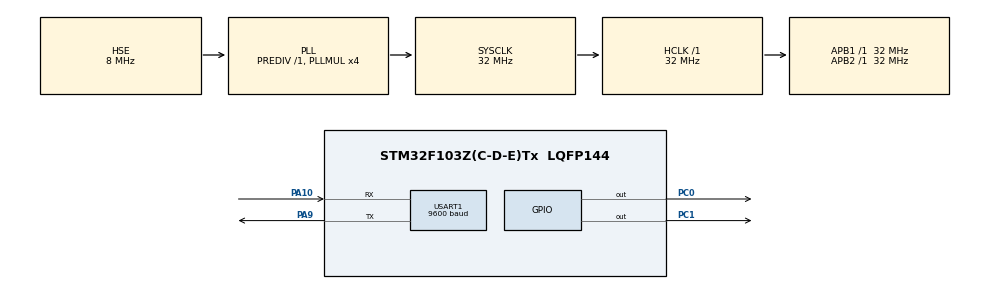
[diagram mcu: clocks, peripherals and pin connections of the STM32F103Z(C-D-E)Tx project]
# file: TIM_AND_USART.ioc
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Mcu.Family=STM32F1
Mcu.Name=STM32F103Z(C-D-E)Tx
Mcu.Package=LQFP144
NVIC.PriorityGroup=NVIC_PRIORITYGROUP_4
NVIC.TIM2_IRQn=true\:0\:0\:false\:false\:true\:true\:true
NVIC.USART1_IRQn=true\:0\:0\:false\:false\:true\:true\:true
OSC_IN.Mode=HSE-External-Oscillator
OSC_IN.Signal=RCC_OSC_IN
OSC_OUT.Mode=HSE-External-Oscillator
OSC_OUT.Signal=RCC_OSC_OUT
PA10.Mode=Asynchronous
PA10.Signal=USART1_RX
PA13.Mode=Serial_Wire
PA13.Signal=SYS_JTMS-SWDIO
PA14.Mode=Serial_Wire
PA14.Signal=SYS_JTCK-SWCLK
PA9.Mode=Asynchronous
PA9.Signal=USART1_TX
PC0.Signal=GPIO_Output
PC1.Signal=GPIO_Output
PC14-OSC32_IN.Mode=LSE-External-Oscillator
PC14-OSC32_IN.Signal=RCC_OSC32_IN
PC15-OSC32_OUT.Mode=LSE-External-Oscillator
PC15-OSC32_OUT.Signal=RCC_OSC32_OUT
ProjectManager.HeapSize=0x200
ProjectManager.StackSize=0x400
ProjectManager.TargetToolchain=MDK-ARM V5.27
RCC.AHBFreq_Value=32000000
RCC.APB1Freq_Value=32000000
RCC.APB1TimFreq_Value=32000000
RCC.APB2Freq_Value=32000000
RCC.APB2TimFreq_Value=32000000
RCC.HCLKFreq_Value=32000000
RCC.PLLMUL=RCC_PLL_MUL4
RCC.PLLSourceVirtual=RCC_PLLSOURCE_HSE
RCC.SYSCLKFreq_VALUE=32000000
RCC.SYSCLKSource=RCC_SYSCLKSOURCE_PLLCLK
RCC.USBFreq_Value=32000000
TIM2.Period=499
TIM2.Prescaler=31999
USART1.BaudRate=9600
USART1.VirtualMode=VM_ASYNC
VP_TIM2_VS_ClockSourceINT.Mode=Internal
board=custom

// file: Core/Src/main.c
/* USER CODE BEGIN Header */
/**
  ******************************************************************************
  * @file           : main.c
  * @brief          : Main program body
  ******************************************************************************
  * @attention
  *
  * <h2><center>&copy; Copyright (c) 2020 STMicroelectronics.
  * All rights reserved.</center></h2>
  *
  * This software component is licensed by ST under BSD 3-Clause license,
  * the "License"; You may not use this file except in compliance with the
  * License. You may obtain a copy of the License at:
  *                        opensource.org/licenses/BSD-3-Clause
  *
  ******************************************************************************
  */
/* USER CODE END Header */
#include "main.h"
#include "tim.h"
#include "usart.h"
#include "gpio.h"

/* USER CODE BEGIN Includes */
#include "stdio.h"
/* USER CODE END Includes */

void SystemClock_Config(void);

/* USER CODE BEGIN 0 */

#define led1k HAL_GPIO_WritePin(GPIOC,GPIO_PIN_0,GPIO_PIN_RESET)
#define led1f HAL_GPIO_TogglePin(GPIOC,GPIO_PIN_0)
#define led2k HAL_GPIO_WritePin(GPIOC,GPIO_PIN_1,GPIO_PIN_RESET)
#define led2f HAL_GPIO_TogglePin(GPIOC,GPIO_PIN_1)

uint8_t str1[] ="*******************************��ң����ã�*********************\r\n";
uint8_t hh=0,mm=0,ss=0,ss05=0;
uint8_t str_buff[64];
uint8_t rx_dat[16];

void HAL_TIM_PeriodElapsedCallback(TIM_HandleTypeDef *htim)
{
	led1f;
	ss05++;
	if(ss05==2)
	{
		ss05=0;
		ss++;
		if(ss==60)
		{
			ss=0;
			mm++;
			if(mm==60)
			{
				mm=0;
				hh++;
			}
		}
	}
}

void HAL_UART_RxCpltCallback(UART_HandleTypeDef *huart)
{
	if(huart->Instance==USART1)
	{
		if(rx_dat[0]==0XBF&&rx_dat[2]==0XFB)
		{
			switch(rx_dat[1])
			{
				case 0xa1:
					led2k;
					sprintf((char *)str_buff,"%d:%d:%d       ��֪���ˣ�\r\n",hh,mm,ss);
				break;
				case 0xa2:
					led2f;
					sprintf((char *)str_buff,"%d:%d:%d       �����ң�\r\n",hh,mm,ss);
				break;
				default:
					sprintf((char *)str_buff,"%d:%d:%d       �ҳ����ģ�\r\n",hh,mm,ss);
				break;
				}
			HAL_UART_Transmit(&huart1,str_buff,sizeof(str_buff),10000);
			HAL_UART_Receive_IT(&huart1,rx_dat,3);
		}
	}

}
/* USER CODE END 0 */

int main(void)
{
  /* USER CODE BEGIN 1 */
HAL_GPIO_WritePin(GPIOC,GPIO_PIN_0,GPIO_PIN_RESET);
	HAL_GPIO_TogglePin(GPIOC,GPIO_PIN_0);
  /* USER CODE END 1 */

  /* MCU Configuration--------------------------------------------------------*/

  /* Reset of all peripherals, Initializes the Flash interface and the Systick. */
  HAL_Init();

  /* Configure the system clock */
  SystemClock_Config();

  /* Initialize all configured peripherals */
  MX_GPIO_Init();
  MX_TIM2_Init();
  MX_USART1_UART_Init();
  /* USER CODE BEGIN 2 */

	led1f;
	led2f;
	led1k;
	HAL_Delay(500);
	led1f;
	HAL_Delay(500);
	led2k;
	HAL_Delay(500);
	led2f;

	HAL_UART_Transmit(&huart1,str1,sizeof(str1),10000);
	HAL_UART_Receive_IT(&huart1,rx_dat,3);
	HAL_TIM_Base_Start_IT(&htim2);
  /* USER CODE END 2 */

  /* Infinite loop */
  while (1)
  {

  }
}

void SystemClock_Config(void)
{
  RCC_OscInitTypeDef RCC_OscInitStruct = {0};
  RCC_ClkInitTypeDef RCC_ClkInitStruct = {0};

  /** Initializes the RCC Oscillators according to the specified parameters
  * in the RCC_OscInitTypeDef structure.
  */
  RCC_OscInitStruct.OscillatorType = RCC_OSCILLATORTYPE_HSE;
  RCC_OscInitStruct.HSEState = RCC_HSE_ON;
  RCC_OscInitStruct.HSEPredivValue = RCC_HSE_PREDIV_DIV1;
  RCC_OscInitStruct.HSIState = RCC_HSI_ON;
  RCC_OscInitStruct.PLL.PLLState = RCC_PLL_ON;
  RCC_OscInitStruct.PLL.PLLSource = RCC_PLLSOURCE_HSE;
  RCC_OscInitStruct.PLL.PLLMUL = RCC_PLL_MUL4;
  if (HAL_RCC_OscConfig(&RCC_OscInitStruct) != HAL_OK)
  {
    Error_Handler();
  }
  /** Initializes the CPU, AHB and APB buses clocks
  */
  RCC_ClkInitStruct.ClockType = RCC_CLOCKTYPE_HCLK|RCC_CLOCKTYPE_SYSCLK
                              |RCC_CLOCKTYPE_PCLK1|RCC_CLOCKTYPE_PCLK2;
  RCC_ClkInitStruct.SYSCLKSource = RCC_SYSCLKSOURCE_PLLCLK;
  RCC_ClkInitStruct.AHBCLKDivider = RCC_SYSCLK_DIV1;
  RCC_ClkInitStruct.APB1CLKDivider = RCC_HCLK_DIV1;
  RCC_ClkInitStruct.APB2CLKDivider = RCC_HCLK_DIV1;

  if (HAL_RCC_ClockConfig(&RCC_ClkInitStruct, FLASH_LATENCY_1) != HAL_OK)
  {
    Error_Handler();
  }
}

void Error_Handler(void)
{
}

/************************ (C) COPYRIGHT STMicroelectronics *****END OF FILE****/
